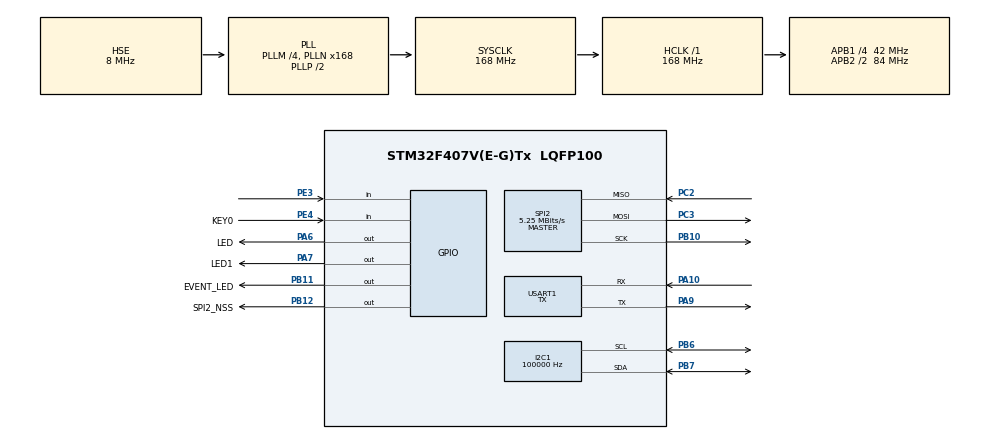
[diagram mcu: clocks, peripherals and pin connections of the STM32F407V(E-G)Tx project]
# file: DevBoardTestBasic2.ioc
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Dma.Request0=USART1_TX
Dma.Request1=SPI2_RX
Dma.Request2=SPI2_TX
Dma.SPI2_RX.1.Direction=DMA_PERIPH_TO_MEMORY
Dma.SPI2_RX.1.FIFOMode=DMA_FIFOMODE_DISABLE
Dma.SPI2_RX.1.Instance=DMA1_Stream3
Dma.SPI2_RX.1.MemDataAlignment=DMA_MDATAALIGN_BYTE
Dma.SPI2_RX.1.MemInc=DMA_MINC_ENABLE
Dma.SPI2_RX.1.Mode=DMA_NORMAL
Dma.SPI2_RX.1.PeriphDataAlignment=DMA_PDATAALIGN_BYTE
Dma.SPI2_RX.1.PeriphInc=DMA_PINC_DISABLE
Dma.SPI2_RX.1.Priority=DMA_PRIORITY_MEDIUM
Dma.SPI2_TX.2.Direction=DMA_MEMORY_TO_PERIPH
Dma.SPI2_TX.2.FIFOMode=DMA_FIFOMODE_DISABLE
Dma.SPI2_TX.2.Instance=DMA1_Stream4
Dma.SPI2_TX.2.MemDataAlignment=DMA_MDATAALIGN_BYTE
Dma.SPI2_TX.2.MemInc=DMA_MINC_ENABLE
Dma.SPI2_TX.2.Mode=DMA_NORMAL
Dma.SPI2_TX.2.PeriphDataAlignment=DMA_PDATAALIGN_BYTE
Dma.SPI2_TX.2.PeriphInc=DMA_PINC_DISABLE
Dma.SPI2_TX.2.Priority=DMA_PRIORITY_MEDIUM
Dma.USART1_TX.0.Direction=DMA_MEMORY_TO_PERIPH
Dma.USART1_TX.0.FIFOMode=DMA_FIFOMODE_DISABLE
Dma.USART1_TX.0.Instance=DMA2_Stream7
Dma.USART1_TX.0.MemDataAlignment=DMA_MDATAALIGN_BYTE
Dma.USART1_TX.0.MemInc=DMA_MINC_ENABLE
Dma.USART1_TX.0.Mode=DMA_NORMAL
Dma.USART1_TX.0.PeriphDataAlignment=DMA_PDATAALIGN_BYTE
Dma.USART1_TX.0.PeriphInc=DMA_PINC_DISABLE
Dma.USART1_TX.0.Priority=DMA_PRIORITY_LOW
FREERTOS.HEAP_NUMBER=3
FREERTOS.Tasks01=heartbeatTask,8,1024,StartHeartbeatTask,Default,NULL,Dynamic,NULL,NULL
FREERTOS.configTOTAL_HEAP_SIZE=8192
I2C1.ClockSpeed=100000
I2C1.NoStretchMode=I2C_NOSTRETCH_DISABLE
Mcu.Family=STM32F4
Mcu.Name=STM32F407V(E-G)Tx
Mcu.Package=LQFP100
NVIC.DMA1_Stream3_IRQn=true\:5\:0\:false\:false\:true\:true\:false\:true
NVIC.DMA1_Stream4_IRQn=true\:5\:0\:false\:false\:true\:true\:false\:true
NVIC.DMA2_Stream7_IRQn=true\:5\:0\:false\:false\:true\:true\:false\:true
NVIC.PriorityGroup=NVIC_PRIORITYGROUP_4
NVIC.SPI2_IRQn=true\:5\:0\:false\:false\:true\:true\:true\:true
NVIC.TIM1_UP_TIM10_IRQn=true\:5\:0\:false\:false\:true\:true\:true\:true
NVIC.TIM7_IRQn=true\:0\:0\:false\:false\:true\:false\:false\:true
NVIC.TimeBase=TIM7_IRQn
NVIC.TimeBaseIP=TIM7
NVIC.USART1_IRQn=true\:5\:0\:false\:false\:true\:true\:true\:true
PA10.Mode=Asynchronous
PA10.Signal=USART1_RX
PA13.Mode=JTAG_5_pins
PA13.Signal=SYS_JTMS-SWDIO
PA14.Mode=JTAG_5_pins
PA14.Signal=SYS_JTCK-SWCLK
PA15.Mode=JTAG_5_pins
PA15.Signal=SYS_JTDI
PA6.GPIO_Label=LED
PA6.Signal=GPIO_Output
PA7.GPIO_Label=LED1
PA7.GPIO_Speed=GPIO_SPEED_FREQ_HIGH
PA7.PinState=GPIO_PIN_SET
PA7.Signal=GPIO_Output
PA9.Mode=Asynchronous
PA9.Signal=USART1_TX
PB10.GPIO_Speed=GPIO_SPEED_FREQ_LOW
PB10.Mode=Full_Duplex_Master
PB10.Signal=SPI2_SCK
PB11.GPIO_Label=EVENT_LED
PB11.Signal=GPIO_Output
PB12.GPIO_Label=SPI2_NSS
PB12.PinState=GPIO_PIN_SET
PB12.Signal=GPIO_Output
PB3.Mode=JTAG_5_pins
PB3.Signal=SYS_JTDO-SWO
PB4.Mode=JTAG_5_pins
PB4.Signal=SYS_JTRST
PB6.GPIO_PuPdOD=GPIO_NOPULL
PB6.Mode=I2C
PB6.Signal=I2C1_SCL
PB7.GPIO_PuPdOD=GPIO_NOPULL
PB7.Mode=I2C
PB7.Signal=I2C1_SDA
PC2.GPIO_Speed=GPIO_SPEED_FREQ_LOW
PC2.Mode=Full_Duplex_Master
PC2.Signal=SPI2_MISO
PC3.GPIO_Speed=GPIO_SPEED_FREQ_LOW
PC3.Mode=Full_Duplex_Master
PC3.Signal=SPI2_MOSI
PE3.Signal=GPIO_Input
PE4.GPIO_Label=KEY0
PE4.GPIO_PuPd=GPIO_PULLUP
PE4.Signal=GPIO_Input
PH0-OSC_IN.Mode=HSE-External-Oscillator
PH0-OSC_IN.Signal=RCC_OSC_IN
PH1-OSC_OUT.Mode=HSE-External-Oscillator
PH1-OSC_OUT.Signal=RCC_OSC_OUT
ProjectManager.HeapSize=0x4000
ProjectManager.StackSize=0x8000
ProjectManager.TargetToolchain=STM32CubeIDE
RCC.48MHZClocksFreq_Value=48000000
RCC.AHBFreq_Value=168000000
RCC.APB1CLKDivider=RCC_HCLK_DIV4
RCC.APB1Freq_Value=42000000
RCC.APB1TimFreq_Value=84000000
RCC.APB2CLKDivider=RCC_HCLK_DIV2
RCC.APB2Freq_Value=84000000
RCC.APB2TimFreq_Value=168000000
RCC.CortexFreq_Value=168000000
RCC.HCLKFreq_Value=168000000
RCC.HSE_VALUE=8000000
RCC.HSI_VALUE=16000000
RCC.LSE_VALUE=32768
RCC.PLLM=4
RCC.PLLN=168
RCC.PLLQ=7
RCC.PLLSourceVirtual=RCC_PLLSOURCE_HSE
RCC.SYSCLKFreq_VALUE=168000000
RCC.SYSCLKSource=RCC_SYSCLKSOURCE_PLLCLK
RCC.VCOOutputFreq_Value=336000000
SPI2.BaudRatePrescaler=SPI_BAUDRATEPRESCALER_8
SPI2.CLKPhase=SPI_PHASE_1EDGE
SPI2.CLKPolarity=SPI_POLARITY_LOW
SPI2.CalculateBaudRate=5.25 MBits/s
SPI2.Direction=SPI_DIRECTION_2LINES
SPI2.Mode=SPI_MODE_MASTER
SPI2.VirtualType=VM_MASTER
STMicroelectronics.X-CUBE-ALGOBUILD.1.0.0.LibraryCcDSPOoLibraryJjDSPOoLibrary=true
TIM10.AutoReloadPreload=TIM_AUTORELOAD_PRELOAD_ENABLE
TIM10.ClockDivision=TIM_CLOCKDIVISION_DIV1
TIM10.Period=24
TIM10.Prescaler=15999
USART1.Mode=MODE_TX
USART1.VirtualMode=VM_ASYNC
VP_FREERTOS_VS_CMSIS_V2.Mode=CMSIS_V2
VP_SYS_VS_tim7.Mode=TIM7
VP_TIM10_VS_ClockSourceINT.Mode=Enable_Timer
board=custom

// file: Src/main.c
/* USER CODE BEGIN Header */
/**
  ******************************************************************************
  * @file           : main.c
  * @brief          : Main program body
  ******************************************************************************
  * @attention
  *
  * <h2><center>&copy; Copyright (c) 2020 STMicroelectronics.
  * All rights reserved.</center></h2>
  *
  * This software component is licensed by ST under Ultimate Liberty license
  * SLA0044, the "License"; You may not use this file except in compliance with
  * the License. You may obtain a copy of the License at:
  *                             www.st.com/SLA0044
  *
  ******************************************************************************
  */
/* USER CODE END Header */

#include "main.h"
#include "cmsis_os.h"
#include "dma.h"
#include "i2c.h"
#include "spi.h"
#include "tim.h"
#include "usart.h"
#include "gpio.h"

/* USER CODE BEGIN Includes */
#include "logger.h"
/* USER CODE END Includes */

void SystemClock_Config(void);
void MX_FREERTOS_Init(void);

int main(void)
{
  /* USER CODE BEGIN 1 */
  log_info("\n\r\n\rSTM32F407VETx Running\n\r");
  /* USER CODE END 1 */

  /* MCU Configuration--------------------------------------------------------*/

  /* Reset of all peripherals, Initializes the Flash interface and the Systick. */
  HAL_Init();

  /* Configure the system clock */
  SystemClock_Config();

  /* Initialize all configured peripherals */
  MX_GPIO_Init();
  MX_DMA_Init();
  MX_I2C1_Init();
  MX_USART1_UART_Init();
  MX_SPI2_Init();
  MX_TIM10_Init();
  /* USER CODE BEGIN 2 */
  HAL_TIM_Base_MspDeInit(&htim10);  // Deinit TIM10 - this should only be init'd just before we need to do CC110 tx/rx
  setbuf(stdout, NULL);
  log_info("GPIO Initialized");
  log_info("TIM10 Initialized");
  log_info("I2C1 Initialized");
  log_info("USART1 Initialized");
  log_info("Starting OS...");
  /* USER CODE END 2 */

  /* Init scheduler */
  osKernelInitialize();  /* Call init function for freertos objects (in freertos.c) */
  MX_FREERTOS_Init();
  /* Start scheduler */
  osKernelStart();

  /* We should never get here as control is now taken by the scheduler */
  /* Infinite loop */
  while (1)
  {

  }
}

void SystemClock_Config(void)
{
  RCC_OscInitTypeDef RCC_OscInitStruct = {0};
  RCC_ClkInitTypeDef RCC_ClkInitStruct = {0};

  /** Configure the main internal regulator output voltage
  */
  __HAL_RCC_PWR_CLK_ENABLE();
  __HAL_PWR_VOLTAGESCALING_CONFIG(PWR_REGULATOR_VOLTAGE_SCALE1);
  /** Initializes the CPU, AHB and APB busses clocks
  */
  RCC_OscInitStruct.OscillatorType = RCC_OSCILLATORTYPE_HSE;
  RCC_OscInitStruct.HSEState = RCC_HSE_ON;
  RCC_OscInitStruct.PLL.PLLState = RCC_PLL_ON;
  RCC_OscInitStruct.PLL.PLLSource = RCC_PLLSOURCE_HSE;
  RCC_OscInitStruct.PLL.PLLM = 4;
  RCC_OscInitStruct.PLL.PLLN = 168;
  RCC_OscInitStruct.PLL.PLLP = RCC_PLLP_DIV2;
  RCC_OscInitStruct.PLL.PLLQ = 7;
  if (HAL_RCC_OscConfig(&RCC_OscInitStruct) != HAL_OK)
  {
    Error_Handler();
  }
  /** Initializes the CPU, AHB and APB busses clocks
  */
  RCC_ClkInitStruct.ClockType = RCC_CLOCKTYPE_HCLK|RCC_CLOCKTYPE_SYSCLK
                              |RCC_CLOCKTYPE_PCLK1|RCC_CLOCKTYPE_PCLK2;
  RCC_ClkInitStruct.SYSCLKSource = RCC_SYSCLKSOURCE_PLLCLK;
  RCC_ClkInitStruct.AHBCLKDivider = RCC_SYSCLK_DIV1;
  RCC_ClkInitStruct.APB1CLKDivider = RCC_HCLK_DIV4;
  RCC_ClkInitStruct.APB2CLKDivider = RCC_HCLK_DIV2;

  if (HAL_RCC_ClockConfig(&RCC_ClkInitStruct, FLASH_LATENCY_5) != HAL_OK)
  {
    Error_Handler();
  }
}

 /**
  * @brief  Period elapsed callback in non blocking mode
  * @note   This function is called  when TIM7 interrupt took place, inside
  * HAL_TIM_IRQHandler(). It makes a direct call to HAL_IncTick() to increment
  * a global variable "uwTick" used as application time base.
  * @param  htim : TIM handle
  * @retval None
  */
void HAL_TIM_PeriodElapsedCallback(TIM_HandleTypeDef *htim)
{
  if (htim->Instance == TIM7) {
    HAL_IncTick();
  }
}

void Error_Handler(void)
{
  /* USER CODE BEGIN Error_Handler_Debug */
  /* User can add his own implementation to report the HAL error return state */
    log_error("\n\r\n\rERROR Handler Caught an Exception!\n\r\n\r");
  /* USER CODE END Error_Handler_Debug */
}

/************************ (C) COPYRIGHT STMicroelectronics *****END OF FILE****/

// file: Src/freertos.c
/* USER CODE BEGIN Header */
/**
 ******************************************************************************
 * File Name          : freertos.c
 * Description        : Code for freertos applications
 ******************************************************************************
 * @attention
 *
 * <h2><center>&copy; Copyright (c) 2020 STMicroelectronics.
 * All rights reserved.</center></h2>
 *
 * This software component is licensed by ST under Ultimate Liberty license
 * SLA0044, the "License"; You may not use this file except in compliance with
 * the License. You may obtain a copy of the License at:
 *                             www.st.com/SLA0044
 *
 ******************************************************************************
 */
/* USER CODE END Header */

#include "FreeRTOS.h"
#include "task.h"
#include "main.h"
#include "cmsis_os.h"

/* USER CODE BEGIN Includes */
#include "logger.h"
#include "ssd1315.h"
#include "cc110.h"
/* USER CODE END Includes */

/* USER CODE BEGIN Variables */
osThreadId_t consoleTaskHandle;
const osThreadAttr_t consoleTask_attributes = { .name = "consoleTask", .priority =
        (osPriority_t) osPriorityLow + 1, .stack_size = 1024 * 4 };

osThreadId_t displayTaskHandle;
const osThreadAttr_t displayTask_attributes = { .name = "displayTask", .priority =
        (osPriority_t) osPriorityNormal, .stack_size = 1024 * 4 };

osThreadId_t radioTaskHandle;
const osThreadAttr_t radioTask_attributes = { .name = "radioTask", .priority =
        (osPriority_t) osPriorityHigh, .stack_size = 1024 * 4 };

/* USER CODE END Variables */
/* Definitions for heartbeatTask */
osThreadId_t heartbeatTaskHandle;
const osThreadAttr_t heartbeatTask_attributes = {
  .name = "heartbeatTask",
  .priority = (osPriority_t) osPriorityLow,
  .stack_size = 1024 * 4
};

/* USER CODE BEGIN FunctionPrototypes */
void StartConsoleTask(void* argument);
void StartDisplayTask(void* argument);
void StartRadioTask(void* argument);
/* USER CODE END FunctionPrototypes */

void StartHeartbeatTask(void *argument);

void MX_FREERTOS_Init(void); /* (MISRA C 2004 rule 8.1) */

void MX_FREERTOS_Init(void) {

  /* Create the thread(s) */
  /* creation of heartbeatTask */
  heartbeatTaskHandle = osThreadNew(StartHeartbeatTask, NULL, &heartbeatTask_attributes);

  /* USER CODE BEGIN RTOS_THREADS */
    consoleTaskHandle = osThreadNew(StartConsoleTask, NULL, &consoleTask_attributes);
    // TODO: Re-eanble this and figure out how to do I2C DMA
    //displayTaskHandle = osThreadNew(StartDisplayTask, NULL, &displayTask_attributes);
    radioTaskHandle = osThreadNew(StartRadioTask, NULL, &radioTask_attributes);
  /* USER CODE END RTOS_THREADS */

}

void StartHeartbeatTask(void *argument)
{
  /* USER CODE BEGIN StartHeartbeatTask */
    log_info("Starting heartbeat task");
    /* Infinite loop */
    while (1)
    {
        HAL_GPIO_TogglePin(LED_GPIO_Port, LED_Pin);
        osDelay(200);
    }
  /* USER CODE END StartHeartbeatTask */
}

/* USER CODE BEGIN Application */
void StartConsoleTask(void* argument)
{
    log_info("Starting console task");
    while (1)
    {
        log_read();
        osDelay(1);
    }
}

void StartDisplayTask(void* argument)
{
    // Init display
    log_info("Starting display task");
    ssd1315_init();
    while (1)
    {
        ssd1315_demo();
        osDelay(100);
    }
}

void StartRadioTask(void* argument)
{
    // Init display
    log_info("Starting radio task");
    cc110_init();
    osDelay(2000);        // Allow other tasks to startup
    while (1)
    {
        cc110_test();   // Perform test
        osDelay(100);
    }
}

/* USER CODE END Application */

/************************ (C) COPYRIGHT STMicroelectronics *****END OF FILE****/
